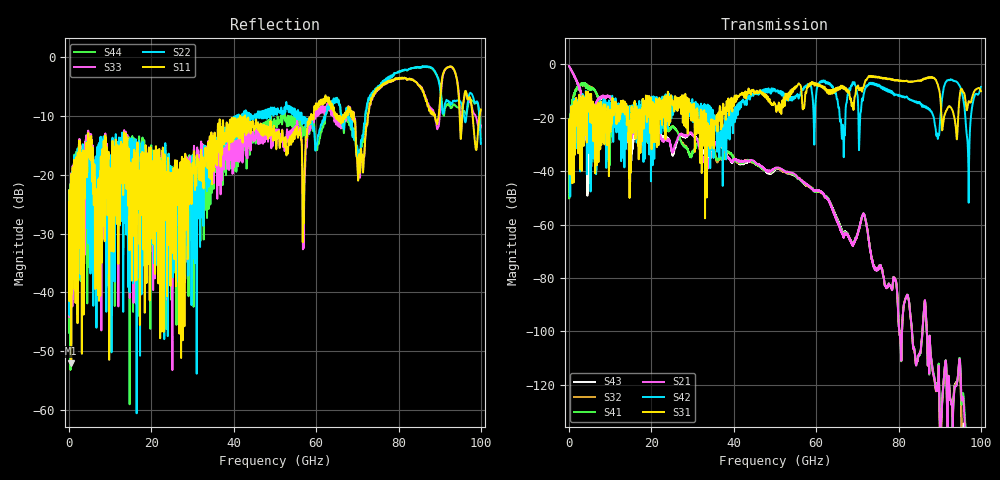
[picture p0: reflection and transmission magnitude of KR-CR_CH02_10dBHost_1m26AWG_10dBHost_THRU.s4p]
# GHz S MA R 50.00
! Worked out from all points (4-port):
!   10000 points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, 10 MHz to 100 GHz, reference 50 ohm
!   strongest paths, dB at 10 MHz, 25.01 GHz, 50.01 GHz, 75.01 GHz, 100 GHz:
!     S31: -27.7, -14.5, -14.9, -4.8, -10.1
!     S42: -27.7, -12.2, -9.5, -8.2, -8.5
!     S21: -0.7, -32.6, -38.9, -76.9, -151.7
!     S41: -49.6, -23.4, -39.2, -76.9, -153.1
!     S32: -49.6, -23.3, -39.3, -76.9, -157.2
!     S43: -0.7, -33.4, -39.5, -76.9, -162.6
!   lowest |S11| = -52.1 dB at 520 MHz (marker M1), VSWR 1.01, Z = 50.3 - j0.00723 ohm
!   |S11| at or under -10 dB: start of sweep to 41.51 GHz; 42.75 GHz to 58.71 GHz (15.96 GHz wide, 31.5 % of centre); 69.15 GHz to 72.55 GHz (3.397 GHz wide, 4.79 % of centre)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
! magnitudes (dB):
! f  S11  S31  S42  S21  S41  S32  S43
! 10 MHz  -22.7  -27.7  -27.7  -0.7  -49.6  -49.6  -0.7
! 520 MHz  -52.1  -33.0  -25.5  -2.1  -17.1  -17.1  -2.1
! 4.94 GHz  -14.2  -11.9  -12.4  -18.7  -9.3  -9.1  -30.7
! 9.53 GHz  -17.1  -19.4  -18.8  -11.9  -33.9  -32.9  -11.9
! 92.64 GHz  -1.5  -16.1  -5.6  -125.9  -125.7  -125.8  -125.7
! 96.9 GHz  -7.2  -14.5  -34.0  -154.5  -160.6  -151.6  -150.2
! 100 GHz  -8.9  -10.1  -8.5  -151.7  -153.1  -157.2  -162.6
